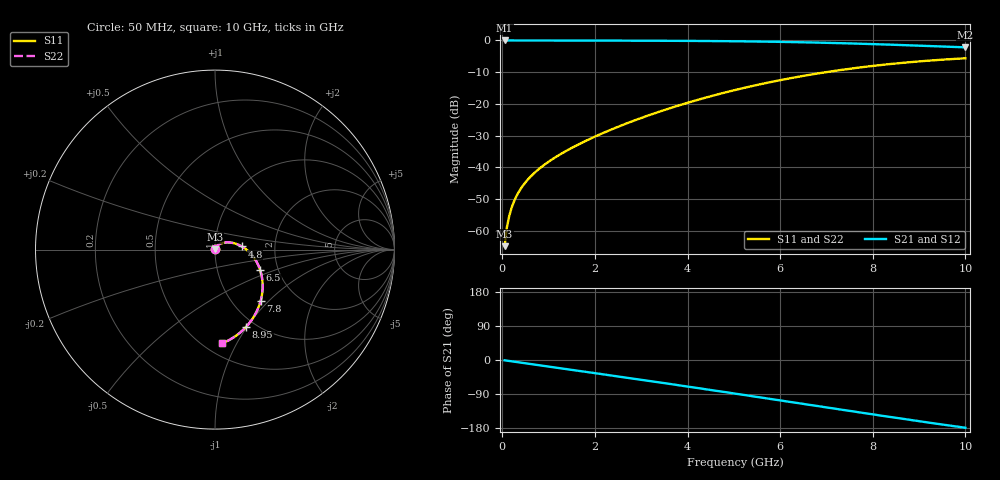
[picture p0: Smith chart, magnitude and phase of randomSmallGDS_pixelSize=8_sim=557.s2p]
! freq	dB(S11)	phase(S11)	dB(S12)	phase(S12)
!  dB(S21)	phase(S21)	dB(S22)	phase(S22)
!S-par simulation data
#  GHz  S  DB  R 50
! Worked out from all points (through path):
!   200 points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, 50 MHz to 10 GHz, reference 50 ohm
!   highest |S21| = 0.00 dB at 50 MHz (marker M1); lowest = -2.2 dB at 10 GHz (marker M2)
!   group delay of S21, straight-line fit = 50.1 ps
!   lowest |S11| = -64.8 dB at 50 MHz (marker M3), VSWR 1.00, Z = 50 + j0.0574 ohm
!   |S11| at or under -10 dB: start of sweep to 6.985 GHz
!   |S22| runs from -64.8 to -5.6 dB; largest |S21 - S12| = 0
!   S11 on the Smith chart (normalised r, x): 50 MHz: 1.00, +0.00; 4.8 GHz: 1.35, +0.05; 6.5 GHz: 1.61, -0.40; 7.8 GHz: 1.34, -0.89; 8.95 GHz: 0.90, -0.99; 10 GHz: 0.61, -0.87
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0.05  -64.80 85.5  -0.00 -0.9  -0.00 -0.9  -64.80 85.5
0.1  -58.79 86.4  -0.00 -1.7  -0.00 -1.7  -58.79 86.4
0.15  -55.26 86.1  -0.00 -2.6  -0.00 -2.6  -55.26 86.1
0.2  -52.76 85.5  -0.00 -3.5  -0.00 -3.5  -52.76 85.5
0.3  -49.21 84.0  -0.00 -5.2  -0.00 -5.2  -49.21 84.0
0.45  -45.63 81.6  -0.01 -7.8  -0.01 -7.8  -45.63 81.6
0.65  -42.31 78.4  -0.01 -11.3  -0.01 -11.3  -42.31 78.4
0.95  -38.71 73.7  -0.02 -16.5  -0.02 -16.5  -38.71 73.7
1.3  -35.45 68.1  -0.03 -22.5  -0.03 -22.5  -35.45 68.1
1.75  -31.99 60.7  -0.04 -30.3  -0.04 -30.3  -31.99 60.7
2.55  -26.90 46.9  -0.06 -44.3  -0.06 -44.3  -26.90 46.9
3.4  -22.39 31.9  -0.09 -59.3  -0.09 -59.3  -22.39 31.9
4.1  -19.21 19.3  -0.14 -71.8  -0.14 -71.8  -19.21 19.3
4.8  -16.43 6.6  -0.22 -84.5  -0.22 -84.5  -16.43 6.6
5.05  -15.53 2.1  -0.25 -89.1  -0.25 -89.1  -15.53 2.1
5.75  -13.24 -10.7  -0.38 -102.0  -0.38 -102.0  -13.24 -10.7
6.5  -11.16 -24.5  -0.58 -115.9  -0.58 -115.9  -11.16 -24.5
6.7  -10.66 -28.2  -0.64 -119.6  -0.64 -119.6  -10.66 -28.2
7.8  -8.37 -48.1  -1.05 -139.9  -1.05 -139.9  -8.37 -48.1
8.35  -7.47 -57.8  -1.31 -149.9  -1.31 -149.9  -7.47 -57.8
8.95  -6.65 -68.2  -1.61 -160.6  -1.61 -160.6  -6.65 -68.2
10  -5.61 -85.7  -2.17 -178.8  -2.17 -178.8  -5.61 -85.7
